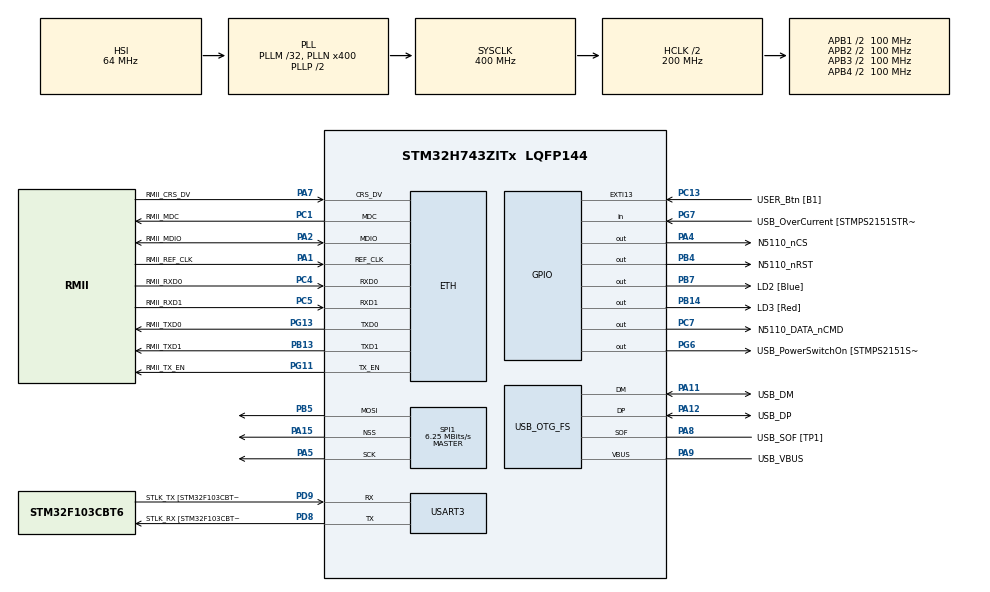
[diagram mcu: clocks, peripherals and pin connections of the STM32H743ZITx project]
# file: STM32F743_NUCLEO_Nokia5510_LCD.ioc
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Dma.Request0=SPI1_TX
Dma.SPI1_TX.0.Direction=DMA_MEMORY_TO_PERIPH
Dma.SPI1_TX.0.EventEnable=DISABLE
Dma.SPI1_TX.0.FIFOMode=DMA_FIFOMODE_DISABLE
Dma.SPI1_TX.0.Instance=DMA1_Stream0
Dma.SPI1_TX.0.MemDataAlignment=DMA_MDATAALIGN_BYTE
Dma.SPI1_TX.0.MemInc=DMA_MINC_ENABLE
Dma.SPI1_TX.0.Mode=DMA_NORMAL
Dma.SPI1_TX.0.PeriphDataAlignment=DMA_PDATAALIGN_BYTE
Dma.SPI1_TX.0.PeriphInc=DMA_PINC_DISABLE
Dma.SPI1_TX.0.Polarity=HAL_DMAMUX_REQ_GEN_RISING
Dma.SPI1_TX.0.Priority=DMA_PRIORITY_LOW
Dma.SPI1_TX.0.RequestNumber=1
Dma.SPI1_TX.0.SyncEnable=DISABLE
Dma.SPI1_TX.0.SyncPolarity=HAL_DMAMUX_SYNC_NO_EVENT
Dma.SPI1_TX.0.SyncRequestNumber=1
ETH.MediaInterface=HAL_ETH_RMII_MODE
Mcu.Family=STM32H7
Mcu.Name=STM32H743ZITx
Mcu.Package=LQFP144
NVIC.DMA1_Stream0_IRQn=true\:0\:0\:false\:false\:true\:false
NVIC.PriorityGroup=NVIC_PRIORITYGROUP_4
NVIC.SPI1_IRQn=true\:0\:0\:false\:false\:true\:true
PA1.GPIO_Label=RMII_REF_CLK
PA1.Mode=RMII
PA1.Signal=ETH_REF_CLK
PA10.GPIO_Label=USB_ID
PA10.Signal=USB_OTG_FS_ID
PA11.GPIO_Label=USB_DM
PA11.Mode=Device_Only
PA11.Signal=USB_OTG_FS_DM
PA12.GPIO_Label=USB_DP
PA12.Mode=Device_Only
PA12.Signal=USB_OTG_FS_DP
PA13.GPIO_Label=TMS
PA13.Mode=Serial_Wire
PA13.Signal=SYS_JTMS-SWDIO
PA14.GPIO_Label=TCK
PA14.Mode=Serial_Wire
PA14.Signal=SYS_JTCK-SWCLK
PA15.GPIO_Speed=GPIO_SPEED_FREQ_LOW
PA15.Mode=NSS_Signal_Hard_Output
PA15.Signal=SPI1_NSS
PA2.GPIO_Label=RMII_MDIO
PA2.Mode=RMII
PA2.Signal=ETH_MDIO
PA4.GPIO_Label=N5110_nCS
PA4.GPIO_Speed=GPIO_SPEED_FREQ_VERY_HIGH
PA4.PinState=GPIO_PIN_RESET
PA4.Signal=GPIO_Output
PA5.GPIO_Speed=GPIO_SPEED_FREQ_LOW
PA5.Mode=TX_Only_Simplex_Unidirect_Master
PA5.Signal=SPI1_SCK
PA7.GPIO_Label=RMII_CRS_DV
PA7.Mode=RMII
PA7.Signal=ETH_CRS_DV
PA8.GPIO_Label=USB_SOF [TP1]
PA8.Mode=Activate_SOF_FS
PA8.Signal=USB_OTG_FS_SOF
PA9.GPIO_Label=USB_VBUS
PA9.Mode=Activate_VBUS
PA9.Signal=USB_OTG_FS_VBUS
PB13.GPIO_Label=RMII_TXD1
PB13.Mode=RMII
PB13.Signal=ETH_TXD1
PB14.GPIO_Label=LD3 [Red]
PB14.Signal=GPIO_Output
PB3.GPIO_Label=SWO
PB3.Signal=SYS_JTDO-SWO
PB4.GPIO_Label=N5110_nRST
PB4.GPIO_Speed=GPIO_SPEED_FREQ_VERY_HIGH
PB4.PinState=GPIO_PIN_SET
PB4.Signal=GPIO_Output
PB5.GPIO_Speed=GPIO_SPEED_FREQ_LOW
PB5.Mode=TX_Only_Simplex_Unidirect_Master
PB5.Signal=SPI1_MOSI
PB7.GPIO_Label=LD2 [Blue]
PB7.Signal=GPIO_Output
PC1.GPIO_Label=RMII_MDC
PC1.Mode=RMII
PC1.Signal=ETH_MDC
PC13.GPIO_Label=USER_Btn [B1]
PC13.Signal=GPXTI13
PC14-OSC32_IN.Mode=LSE-External-Oscillator
PC14-OSC32_IN.Signal=RCC_OSC32_IN
PC15-OSC32_OUT.Mode=LSE-External-Oscillator
PC15-OSC32_OUT.Signal=RCC_OSC32_OUT
PC4.GPIO_Label=RMII_RXD0
PC4.Mode=RMII
PC4.Signal=ETH_RXD0
PC5.GPIO_Label=RMII_RXD1
PC5.Mode=RMII
PC5.Signal=ETH_RXD1
PC7.GPIO_Label=N5110_DATA_nCMD
PC7.PinState=GPIO_PIN_SET
PC7.Signal=GPIO_Output
PD8.GPIO_Label=STLK_RX [STM32F103CBT6_PA3]
PD8.Mode=Asynchronous
PD8.Signal=USART3_TX
PD9.GPIO_Label=STLK_TX [STM32F103CBT6_PA2]
PD9.Mode=Asynchronous
PD9.Signal=USART3_RX
PG11.GPIO_Label=RMII_TX_EN
PG11.Mode=RMII
PG11.Signal=ETH_TX_EN
PG13.GPIO_Label=RMII_TXD0
PG13.Mode=RMII
PG13.Signal=ETH_TXD0
PG6.GPIO_Label=USB_PowerSwitchOn [STMPS2151STR_EN]
PG6.Signal=GPIO_Output
PG7.GPIO_Label=USB_OverCurrent [STMPS2151STR_FAULT]
PG7.Signal=GPIO_Input
PH0-OSC_IN.GPIO_Label=MCO
PH0-OSC_IN.Mode=HSE-External-Clock-Source
PH0-OSC_IN.Signal=RCC_OSC_IN
PH1-OSC_OUT.Mode=HSE-External-Clock-Source
PH1-OSC_OUT.Signal=RCC_OSC_OUT
ProjectManager.HeapSize=0x200
ProjectManager.StackSize=0x400
ProjectManager.TargetToolchain=TrueSTUDIO
RCC.48MHZClocksFreq_Value=24000000
RCC.ADCFreq_Value=129000000
RCC.AHBFreq_Value=216000000
RCC.APB1CLKDivider=RCC_HCLK_DIV4
RCC.APB1Freq_Value=100000000
RCC.APB1TimFreq_Value=108000000
RCC.APB2CLKDivider=RCC_HCLK_DIV2
RCC.APB2Freq_Value=100000000
RCC.APB2TimFreq_Value=216000000
RCC.APB3Freq_Value=100000000
RCC.APB4Freq_Value=100000000
RCC.CortexFreq_Value=400000000
RCC.D1PPRE=RCC_APB3_DIV2
RCC.D2PPRE1=RCC_APB1_DIV2
RCC.D2PPRE2=RCC_APB2_DIV2
RCC.D3PPRE=RCC_APB4_DIV2
RCC.DIVN1=400
RCC.HCLKFreq_Value=200000000
RCC.HPRE=RCC_HCLK_DIV2
RCC.HSE_VALUE=8000000
RCC.HSI_VALUE=64000000
RCC.PLLM=25
RCC.PLLMUL=RCC_PLL_MUL9
RCC.PLLN=432
RCC.PLLQ=9
RCC.PRESCALERUSB=RCC_USBCLKSOURCE_PLL_DIV1_5
RCC.SYSCLKFreq_VALUE=400000000
RCC.SYSCLKSource=RCC_SYSCLKSOURCE_PLLCLK
RCC.SYSCLKSourceVirtual=RCC_SYSCLKSOURCE_PLLCLK
RCC.USBCLockSelection=RCC_USBCLKSOURCE_HSI48
RCC.USBFreq_Value=48000000
RCC.VCOOutputFreq_Value=432000000
SPI1.BaudRatePrescaler=SPI_BAUDRATEPRESCALER_64
SPI1.CLKPolarity=SPI_POLARITY_LOW
SPI1.CalculateBaudRate=6.25 MBits/s
SPI1.DataSize=SPI_DATASIZE_8BIT
SPI1.Direction=SPI_DIRECTION_2LINES_TXONLY
SPI1.Mode=SPI_MODE_MASTER
SPI1.NSSPMode=SPI_NSS_PULSE_DISABLE
SPI1.NSSPolarity=SPI_NSS_POLARITY_LOW
SPI1.TIMode=SPI_TIMODE_DISABLE
SPI1.VirtualNSS=VM_NSSHARD
SPI1.VirtualType=VM_MASTER
USART3.VirtualMode-Asynchronous=VM_ASYNC
USB_OTG_FS.VirtualMode=Device_Only
board=NUCLEO-H743ZI

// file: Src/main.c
/**
  ******************************************************************************
  * @file           : main.c
  * @brief          : Main program body
  ******************************************************************************
  ** This notice applies to any and all portions of this file
  * that are not between comment pairs USER CODE BEGIN and
  * USER CODE END. Other portions of this file, whether
  * inserted by the user or by software development tools
  * are owned by their respective copyright owners.
  *
  * COPYRIGHT(c) 2019 STMicroelectronics
  *
  * Redistribution and use in source and binary forms, with or without modification,
  * are permitted provided that the following conditions are met:
  *   1. Redistributions of source code must retain the above copyright notice,
  *      this list of conditions and the following disclaimer.
  *   2. Redistributions in binary form must reproduce the above copyright notice,
  *      this list of conditions and the following disclaimer in the documentation
  *      and/or other materials provided with the distribution.
  *   3. Neither the name of STMicroelectronics nor the names of its contributors
  *      may be used to endorse or promote products derived from this software
  *      without specific prior written permission.
  *
  * THIS SOFTWARE IS PROVIDED BY THE COPYRIGHT HOLDERS AND CONTRIBUTORS "AS IS"
  * AND ANY EXPRESS OR IMPLIED WARRANTIES, INCLUDING, BUT NOT LIMITED TO, THE
  * IMPLIED WARRANTIES OF MERCHANTABILITY AND FITNESS FOR A PARTICULAR PURPOSE ARE
  * DISCLAIMED. IN NO EVENT SHALL THE COPYRIGHT HOLDER OR CONTRIBUTORS BE LIABLE
  * FOR ANY DIRECT, INDIRECT, INCIDENTAL, SPECIAL, EXEMPLARY, OR CONSEQUENTIAL
  * DAMAGES (INCLUDING, BUT NOT LIMITED TO, PROCUREMENT OF SUBSTITUTE GOODS OR
  * SERVICES; LOSS OF USE, DATA, OR PROFITS; OR BUSINESS INTERRUPTION) HOWEVER
  * CAUSED AND ON ANY THEORY OF LIABILITY, WHETHER IN CONTRACT, STRICT LIABILITY,
  * OR TORT (INCLUDING NEGLIGENCE OR OTHERWISE) ARISING IN ANY WAY OUT OF THE USE
  * OF THIS SOFTWARE, EVEN IF ADVISED OF THE POSSIBILITY OF SUCH DAMAGE.
  *
  ******************************************************************************
  */
#include "main.h"
#include "stm32h7xx_hal.h"
#include "dma.h"
#include "eth.h"
#include "spi.h"
#include "usart.h"
#include "usb_otg.h"
#include "gpio.h"

/* USER CODE BEGIN Includes */

#include <stdlib.h>
#include <string.h>

#include "N5110_LCD/N5110_lcd.h"
/* USER CODE END Includes */

/* USER CODE BEGIN PV */
/* Private variables ---------------------------------------------------------*/

/* USER CODE END PV */

void SystemClock_Config(void);

/* USER CODE BEGIN PFP */
/* Private function prototypes -----------------------------------------------*/

/* USER CODE END PFP */

/* USER CODE BEGIN 0 */

/*
void buffer_string(uint8_t *text, uint32_t size, uint32_t x, uint32_t y)
{
	for(int i=0; i<size; i++)
	{
		AT_N5110LCD_buffer_putchar(text[i], x + 6*i, y);
		  AT_N5110LCD_write_display(NOKIA_Buffer);
	}
}
*/

void GPIO_ResetPin(void* port, uint32_t pin)
{
	HAL_GPIO_WritePin(port, pin, 0);
}
void GPIO_SetPin(void* port, uint32_t pin)
{
	HAL_GPIO_WritePin(port, pin, 1);
}
void SPI_Transmit(uint8_t* data, uint32_t length)
{
	HAL_SPI_Transmit(&hspi1, data, length, 10);
}
void SPI_Transmit_DMA(uint8_t* data, uint32_t length)
{
	HAL_SPI_Transmit_DMA(&hspi1, data, length);
}
/* USER CODE END 0 */

int main(void)
{

  /* MCU Configuration----------------------------------------------------------*/

  /* Reset of all peripherals, Initializes the Flash interface and the Systick. */
  HAL_Init();

  /* Configure the system clock */
  SystemClock_Config();

  /* Initialize all configured peripherals */
  MX_GPIO_Init();
  MX_DMA_Init();
  MX_ETH_Init();
  MX_USART3_UART_Init();
  MX_USB_OTG_FS_PCD_Init();
  MX_SPI1_Init();
  /* USER CODE BEGIN 2 */

  AT_N5110_LCD_handle *lcdHandle = AT_N5110LCD_open();
  lcdHandle->functions.delay_ms = HAL_Delay;
  lcdHandle->functions.get_time_ms = HAL_GetTick;
  lcdHandle->functions.reset_gpio = GPIO_ResetPin;
  lcdHandle->functions.set_gpio = GPIO_SetPin;
  lcdHandle->functions.spi_transmit = SPI_Transmit;
  lcdHandle->functions.spi_transmit_dma = SPI_Transmit_DMA;
  lcdHandle->pins.DCPort = N5110_DATA_nCMD_GPIO_Port;
  lcdHandle->pins.DCPin = N5110_DATA_nCMD_Pin;
  lcdHandle->pins.RstPort = N5110_nRST_GPIO_Port;
  lcdHandle->pins.RstPin = N5110_nRST_Pin;
  lcdHandle->pins.csPort = N5110_nCS_GPIO_Port;
  lcdHandle->pins.csPin = N5110_nCS_Pin;
  AT_N5110LCD_init(lcdHandle);

  //AT_N5110LCD_send_command(DC | DC_INVERSE_VIDEO_MODE);

  //AT_N5110LCD_send_command(SETX | 20);

  uint8_t x = 0;
  uint8_t y = 0;

  int8_t kay = 84;
  //volatile uint8_t text[] = "HELLo World!!";
  while (1)
  {

	  //buffer_string("merhaba Cem!", 12, 5, 20);

	  uint8_t text[] = "DSPLAB";
	  AT_N5110LCD_print_string(lcdHandle, &FontMenlo32, (uint8_t*)text, sizeof(text)-1, kay--, 5);

	  AT_N5110LCD_draw_pixel(lcdHandle, x, y, 1);
	  uint8_t pixel;
	  AT_N5110LCD_get_pixel(lcdHandle, x, y, &pixel);
	  AT_N5110LCD_get_pixel(lcdHandle, x+1, y+1, &pixel);
	  AT_N5110LCD_get_pixel(lcdHandle, x+1, y+1, &pixel);

	  pixel += x;
	  x++;
	  y++;
	  if (x>=84)
		  x=0;
	  if (y>=48)
		  y=0;

	  AT_N5110LCD_update_display(lcdHandle);
	  HAL_Delay(30);

  }
  /* USER CODE END 2 */

  /* Infinite loop */
  /* USER CODE BEGIN WHILE */
  while (1)
  {

	  HAL_GPIO_TogglePin(LD2_GPIO_Port, LD2_Pin);
	  HAL_Delay(250);
  /* USER CODE END WHILE */

  }

}

void SystemClock_Config(void)
{

  RCC_OscInitTypeDef RCC_OscInitStruct;
  RCC_ClkInitTypeDef RCC_ClkInitStruct;
  RCC_PeriphCLKInitTypeDef PeriphClkInitStruct;

    /**Supply configuration update enable
    */
  MODIFY_REG(PWR->CR3, PWR_CR3_SCUEN, 0);

    /**Configure the main internal regulator output voltage
    */
  __HAL_PWR_VOLTAGESCALING_CONFIG(PWR_REGULATOR_VOLTAGE_SCALE1);

  while ((PWR->D3CR & (PWR_D3CR_VOSRDY)) != PWR_D3CR_VOSRDY)
  {

  }
    /**Initializes the CPU, AHB and APB busses clocks
    */
  RCC_OscInitStruct.OscillatorType = RCC_OSCILLATORTYPE_HSI48|RCC_OSCILLATORTYPE_HSI;
  RCC_OscInitStruct.HSIState = RCC_HSI_DIV1;
  RCC_OscInitStruct.HSICalibrationValue = 16;
  RCC_OscInitStruct.HSI48State = RCC_HSI48_ON;
  RCC_OscInitStruct.PLL.PLLState = RCC_PLL_ON;
  RCC_OscInitStruct.PLL.PLLSource = RCC_PLLSOURCE_HSI;
  RCC_OscInitStruct.PLL.PLLM = 32;
  RCC_OscInitStruct.PLL.PLLN = 400;
  RCC_OscInitStruct.PLL.PLLP = 2;
  RCC_OscInitStruct.PLL.PLLQ = 2;
  RCC_OscInitStruct.PLL.PLLR = 2;
  RCC_OscInitStruct.PLL.PLLRGE = RCC_PLL1VCIRANGE_1;
  RCC_OscInitStruct.PLL.PLLVCOSEL = RCC_PLL1VCOWIDE;
  RCC_OscInitStruct.PLL.PLLFRACN = 0;
  if (HAL_RCC_OscConfig(&RCC_OscInitStruct) != HAL_OK)
  {
    _Error_Handler(__FILE__, __LINE__);
  }

    /**Initializes the CPU, AHB and APB busses clocks
    */
  RCC_ClkInitStruct.ClockType = RCC_CLOCKTYPE_HCLK|RCC_CLOCKTYPE_SYSCLK
                              |RCC_CLOCKTYPE_PCLK1|RCC_CLOCKTYPE_PCLK2
                              |RCC_CLOCKTYPE_D3PCLK1|RCC_CLOCKTYPE_D1PCLK1;
  RCC_ClkInitStruct.SYSCLKSource = RCC_SYSCLKSOURCE_PLLCLK;
  RCC_ClkInitStruct.SYSCLKDivider = RCC_SYSCLK_DIV1;
  RCC_ClkInitStruct.AHBCLKDivider = RCC_HCLK_DIV2;
  RCC_ClkInitStruct.APB3CLKDivider = RCC_APB3_DIV2;
  RCC_ClkInitStruct.APB1CLKDivider = RCC_APB1_DIV2;
  RCC_ClkInitStruct.APB2CLKDivider = RCC_APB2_DIV2;
  RCC_ClkInitStruct.APB4CLKDivider = RCC_APB4_DIV2;

  if (HAL_RCC_ClockConfig(&RCC_ClkInitStruct, FLASH_LATENCY_2) != HAL_OK)
  {
    _Error_Handler(__FILE__, __LINE__);
  }

  PeriphClkInitStruct.PeriphClockSelection = RCC_PERIPHCLK_USART3|RCC_PERIPHCLK_SPI1
                              |RCC_PERIPHCLK_USB;
  PeriphClkInitStruct.Spi123ClockSelection = RCC_SPI123CLKSOURCE_PLL;
  PeriphClkInitStruct.Usart234578ClockSelection = RCC_USART234578CLKSOURCE_D2PCLK1;
  PeriphClkInitStruct.UsbClockSelection = RCC_USBCLKSOURCE_HSI48;
  if (HAL_RCCEx_PeriphCLKConfig(&PeriphClkInitStruct) != HAL_OK)
  {
    _Error_Handler(__FILE__, __LINE__);
  }

    /**Configure the Systick interrupt time
    */
  HAL_SYSTICK_Config(SystemCoreClock/1000);

    /**Configure the Systick
    */
  HAL_SYSTICK_CLKSourceConfig(SYSTICK_CLKSOURCE_HCLK);

  /* SysTick_IRQn interrupt configuration */
  HAL_NVIC_SetPriority(SysTick_IRQn, 0, 0);
}

void _Error_Handler(char *file, int line)
{
  while(1)
  {
  }
}

/************************ (C) COPYRIGHT STMicroelectronics *****END OF FILE****/
